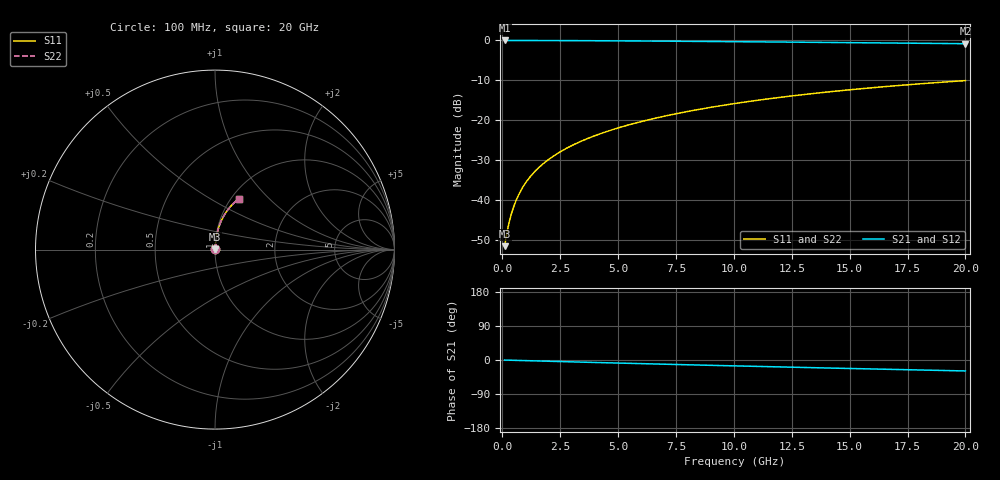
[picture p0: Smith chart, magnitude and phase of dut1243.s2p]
! Touchstone file exported from HFSS 2024.1.0
!  File:  C:/UserFiles/LocalFiles/RDL_TSV_Batchsim/temp_RDL_top_1243_1780241079.aedt
!  Generated:  11:26:54 PM May 31, 2026
!  Design:  RDL_top
!  Project:  temp_RDL_top_1243_1780241079
!  Setup:  Setup1
!  Solution:  Sweep
! Variables:
!  dtsv = 10.80580581um
!  hbump = 3um
!  htsv = 59.09um
!  ldown = 100um
!  lrdl = 392.72um
!  p = 40
!  p1 = 43.84um
!  rhole = 1um
!  t = 450um
!  tdown = 3.915915916um
!  trdl = 4.85um
!  wdown = 15.38538539um
!  wrdl = 15.17um
# GHz S MA R 50.000000
! Terminal data exported
! Port[1] = Box2_T1
! Port[2] = Box2_T2
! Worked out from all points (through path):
!   200 points, 100 MHz to 20 GHz, reference 50 ohm
!   highest |S21| = -0.02 dB at 100 MHz (marker M1); lowest = -0.8 dB at 20 GHz (marker M2)
!   group delay of S21, straight-line fit = 3.99 ps
!   lowest |S11| = -51.7 dB at 100 MHz (marker M3), VSWR 1.01, Z = 50.2 + j0.169 ohm
!   |S11| at or under -10 dB: start of sweep to end of sweep
!   |S22| runs from -51.7 to -10.1 dB; largest |S21 - S12| = 3.3e-15
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0.1  0.002613 40.1  0.998 -0.2  0.998 -0.2  0.002613 40.1
! Gamma 0 0 0 0
! Port Impedance 50 0 50 0
0.2  0.003863 57.7  0.9979 -0.3  0.9979 -0.3  0.003863 57.7
0.3  0.005283 66.6  0.9978 -0.5  0.9978 -0.5  0.005283 66.6
0.4  0.006779 71.7  0.9977 -0.7  0.9977 -0.7  0.006779 71.7
0.5  0.008313 74.9  0.9976 -0.8  0.9976 -0.8  0.008313 74.9
0.6  0.009867 77.1  0.9975 -1.0  0.9975 -1.0  0.009867 77.1
0.8  0.01301 79.8  0.9973 -1.3  0.9973 -1.3  0.01301 79.8
1.1  0.01775 81.9  0.997 -1.8  0.997 -1.8  0.01775 81.8
1.3  0.02092 82.6  0.9968 -2.2  0.9968 -2.2  0.02092 82.6
1.5  0.02408 83.2  0.9965 -2.5  0.9965 -2.5  0.02408 83.1
1.8  0.02884 83.6  0.996 -3.0  0.996 -3.0  0.02883 83.6
2.1  0.03358 83.9  0.9954 -3.5  0.9954 -3.5  0.03358 83.9
2.7  0.04307 84.1  0.994 -4.5  0.994 -4.5  0.04307 84.0
3.5  0.05574 83.9  0.9918 -5.7  0.9918 -5.7  0.05574 83.9
4.2  0.06686 83.6  0.9895 -6.9  0.9895 -6.9  0.06686 83.5
5  0.07964 83.0  0.9865 -8.1  0.9865 -8.1  0.07963 83.0
6.8  0.1087 81.5  0.979 -10.8  0.979 -10.8  0.1086 81.5
8.4  0.1346 79.8  0.9717 -13.2  0.9717 -13.2  0.1346 79.8
10.1  0.1623 77.9  0.9634 -15.7  0.9634 -15.7  0.1622 77.8
13.4  0.215 73.7  0.9462 -20.3  0.9462 -20.3  0.2149 73.6
16.7  0.2655 69.3  0.9279 -24.7  0.9279 -24.7  0.2654 69.3
20  0.3129 65.0  0.9088 -28.9  0.9088 -28.9  0.3127 64.9
